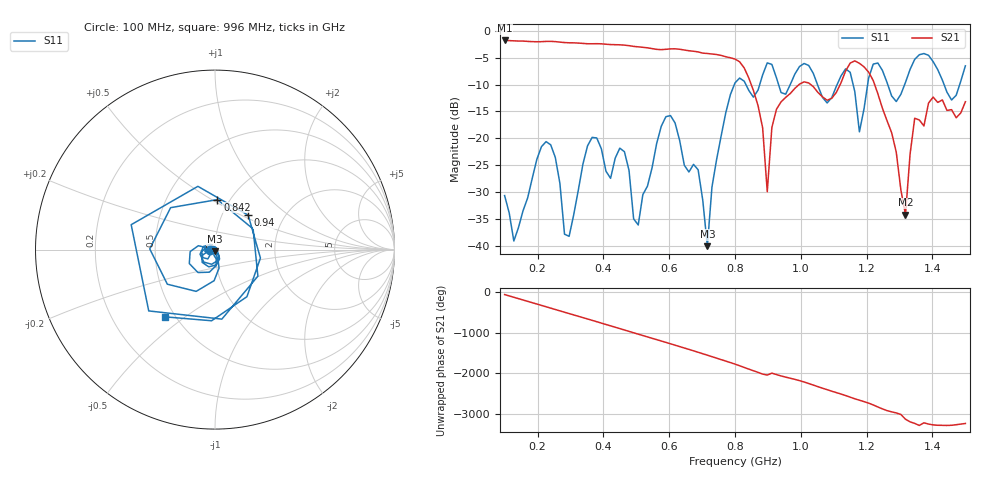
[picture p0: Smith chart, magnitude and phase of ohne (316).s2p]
! NanoVNA-App
! Date: 2025-09-25 14:23:15
! Start: 100MHz Stop: 1,5GHz Points: 101
! S-Parameter data: F S11 S21 S12 S22
# Hz S RI R 50
!  Frequency  S11_Real  S11_Imag  S21_Real  S21_Imag  S12_Real  S12_Imag  S22_Real  S22_Imag
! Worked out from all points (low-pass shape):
!   101 points, 100 MHz to 1.5 GHz, reference 50 ohm
!   highest |S21| = -1.79 dB at 100 MHz (marker M1); lowest = -34.2 dB at 1.318 GHz (marker M2)
!   |S21| within 3 dB of the highest: start of sweep to 770.2 MHz
!   lowest |S11| = -40.0 dB at 716 MHz (marker M3), VSWR 1.02, Z = 49.8 - j0.965 ohm
!   |S11| at or under -10 dB: start of sweep to 797.9 MHz; 833.1 MHz to 875.1 MHz (41.91 MHz wide, 4.91 % of centre); 1.051 GHz to 1.11 GHz (59.67 MHz wide, 5.52 % of centre) (the widest 3 of 7)
!   S12 and S22 are empty: the file has one direction only
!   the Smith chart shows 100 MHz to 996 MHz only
!   S11 on the Smith chart (normalised r, x): 100 MHz: 0.94, -0.01; 842 MHz: 0.88, +0.53; 940 MHz: 1.33, +0.55; 996 MHz: 0.44, -0.42
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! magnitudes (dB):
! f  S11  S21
! 100 MHz  -30.6  -1.8
! 128 MHz  -39.1  -1.9
! 226 MHz  -20.6  -2.0
! 296 MHz  -38.2  -2.2
! 338 MHz  -24.8  -2.3
! 464 MHz  -22.5  -2.7
! 506 MHz  -36.1  -3.0
! 576 MHz  -17.7  -3.5
! 688 MHz  -25.8  -3.9
! 716 MHz  -40.0  -4.2
! 800 MHz  -9.7  -5.3
! 842 MHz  -11.1  -8.8
! 898 MHz  -6.0  -29.9
! 940 MHz  -11.5  -13.2
! 996 MHz  -6.6  -9.9
! 1.038 GHz  -7.9  -10.4
! 1.178 GHz  -18.8  -6.0
! 1.22 GHz  -6.2  -9.2
! 1.276 GHz  -12.1  -19.0
! 1.318 GHz  -9.6  -34.2
! 1.346 GHz  -5.3  -16.3
! 1.5 GHz  -6.5  -13.2
